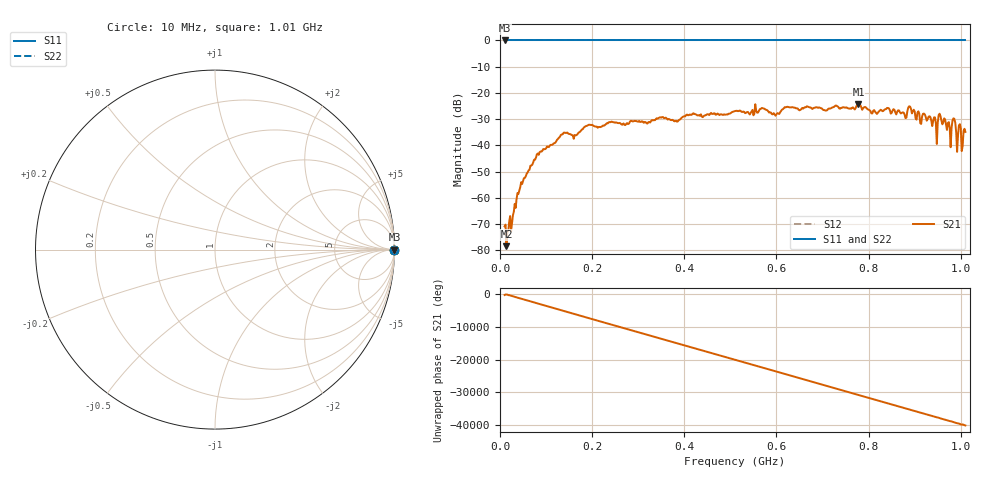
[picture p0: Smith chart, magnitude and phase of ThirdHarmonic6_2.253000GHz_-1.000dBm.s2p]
! 8/17/2025 2:43:35 AM
! C:\ANRITSUVNA\TEMP\TEMP.S2P
! CHANNEL.1
! TR.MEASUREMENT
! RAW.DATA
! RF.CORRECTION.OFF
! AVERAGING.OFF
! IF.BANDWIDTH: 5KHZ
! SWEEPTYPE:  FREQ.SWEEP(Linear)
! Reference Plane Port Info
! PORT:  PORT1  PORT2
! DISTANCE:  0  m  0  m
! TIME:  0  s  0  s
! PHASE.OFFSET:  0  deg.  0  deg.
! LOSS:  0  dB  0  dB
! REF.LOSS:  0  dB  0  dB
! REF.FREQ:  0  Hz  0  Hz
! Power Info
! POWER:  -20  dBm  -20  dBm
! EFF.POWER:  -20  dBm  -20  dBm
! SOURCE.ATTEN:  0  dB  0  dB
! TEST.ATTEN:  0  dB  0  dB
# GHZ S RI R 50.0
! FREQ.GHZ  S11RE  S11IM  S21RE  S21IM  S12RE  S12IM  S22RE  S22IM
!; PortSelection: Port_12
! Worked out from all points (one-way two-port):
!   501 points, 10 MHz to 1.01 GHz, reference 50 ohm
!   highest |S21| = -24.20 dB at 778 MHz (marker M1); lowest = -78.5 dB at 14 MHz (marker M2)
!   lowest |S11| = 0.0 dB at 10 MHz (marker M3)
!   |S11| at or under -10 dB: nowhere
!   |S22| runs from 0.0 to 0.0 dB; largest |S21 - S12| = 1.1
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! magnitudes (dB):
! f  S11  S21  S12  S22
! 10 MHz  0.0  -70.9  0.0  0.0
! 14 MHz  0.0  -78.5  0.0  0.0
! 28 MHz  0.0  -66.8  0.0  0.0
! 42 MHz  0.0  -57.2  0.0  0.0
! 82 MHz  0.0  -43.1  0.0  0.0
! 136 MHz  0.0  -35.8  0.0  0.0
! 178 MHz  0.0  -33.9  0.0  0.0
! 344 MHz  0.0  -29.6  0.0  0.0
! 510 MHz  0.0  -26.9  0.0  0.0
! 678 MHz  0.0  -26.1  0.0  0.0
! 778 MHz  0.0  -24.2  0.0  0.0
! 806 MHz  0.0  -27.8  0.0  0.0
! 844 MHz  0.0  -25.9  0.0  0.0
! 878 MHz  0.0  -28.2  0.0  0.0
! 888 MHz  0.0  -25.1  0.0  0.0
! 946 MHz  0.0  -31.7  0.0  0.0
! 954 MHz  0.0  -27.9  0.0  0.0
! 974 MHz  0.0  -31.1  0.0  0.0
! 984 MHz  0.0  -29.7  0.0  0.0
! 990 MHz  0.0  -35.0  0.0  0.0
! 1.006 GHz  0.0  -34.5  0.0  0.0
! 1.01 GHz  0.0  -34.9  0.0  0.0
